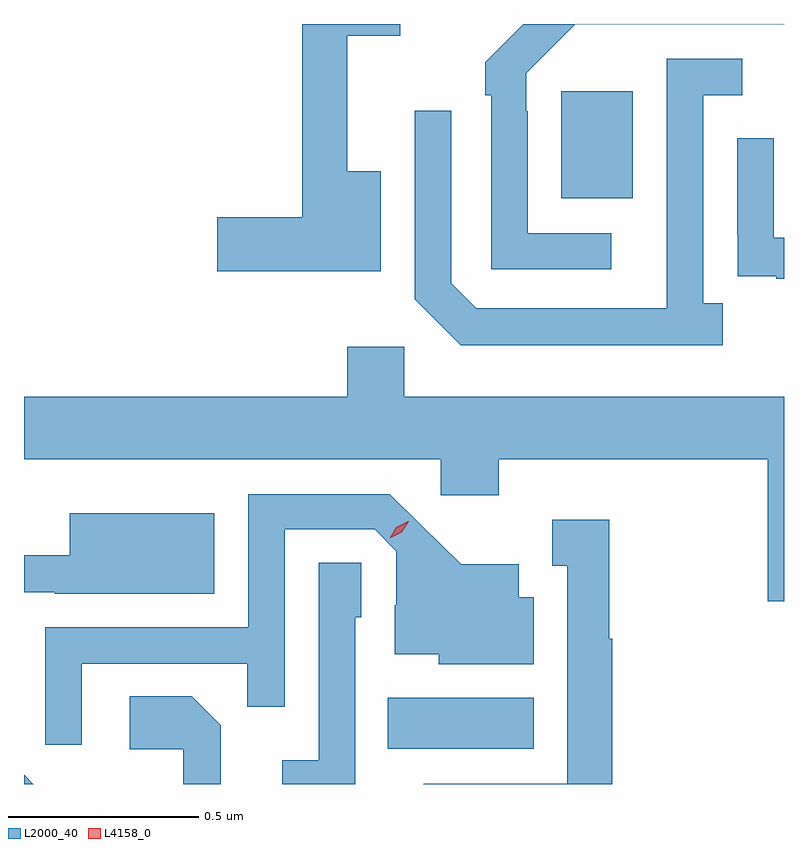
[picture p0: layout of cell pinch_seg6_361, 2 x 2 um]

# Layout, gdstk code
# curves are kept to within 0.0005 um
import gdstk
lib = gdstk.Library(unit=1e-6, precision=1e-09)
def R(c, l, rs):  # rectangles x0, y0, x1, y1
    for r in rs: c.add(gdstk.rectangle(r[:2], r[2:], *l))
def P(c, l, *ps):  # polygons
    for p in ps: c.add(gdstk.Polygon(p, *l))
L2000_40 = (2000, 40)
L4158_0 = (4158, 0)

pinch_seg6_361 = lib.new_cell('pinch_seg6_361')
R(pinch_seg6_361, L2000_40, [(655.516,950.57,655.9,950.704), (655.973,952.019,656.161,952.3)])
P(pinch_seg6_361, L2000_40, [(655.498,952.09),(655.409,952.09),(655.409,952.446),(655.549,952.446),(655.549,952.477),(655.291,952.477),(655.291,951.968),(655.068,951.968),(655.068,951.826),(655.498,951.826)],
  [(656.104,951.927),(655.884,951.927),(655.884,952.247),(655.881,952.247),(655.881,952.347),(656.01,952.476),(656.559,952.476),(656.559,952.477),(655.873,952.477),(655.773,952.377),(655.773,952.289),(655.788,952.289),(655.788,951.831),(656.104,951.831)],
  [(656.398,951.742),(656.346,951.742),(656.346,952.29),(656.449,952.29),(656.449,952.386),(656.25,952.386),(656.25,951.729),(655.749,951.729),(655.683,951.795),(655.683,952.249),(655.587,952.249),(655.587,951.753),(655.708,951.632),(656.398,951.632)],
  [(656.559,951.915),(656.532,951.915),(656.532,952.177),(656.436,952.177),(656.436,951.922),(656.437,951.922),(656.437,951.813),(656.539,951.813),(656.539,951.807),(656.559,951.807)],
  [(656.559,951.496),(655.56,951.496),(655.56,951.628),(655.409,951.628),(655.409,951.496),(654.559,951.496),(654.559,951.332),(655.656,951.332),(655.656,951.237),(655.808,951.237),(655.808,951.332),(656.516,951.332),(656.516,950.958),(656.559,950.958)],
  [(654.711,950.793),(655.147,950.793),(655.147,950.68),(655.245,950.68),(655.245,951.147),(655.482,951.147),(655.539,951.09),(655.539,950.948),(655.535,950.948),(655.535,950.819),(655.65,950.819),(655.65,950.792),(655.9,950.792),(655.9,950.968),(655.861,950.968),(655.861,951.055),(655.709,951.055),(655.522,951.24),(655.149,951.24),(655.149,950.889),(654.615,950.889),(654.615,950.58),(654.711,950.58)],
  [(655.06,951.19),(654.68,951.19),(654.68,951.079),(654.559,951.079),(654.559,950.982),(654.64,950.982),(654.64,950.978),(655.06,950.978)],
  [(656.107,950.859),(656.099,950.859),(656.099,951.172),(655.949,951.172),(655.949,951.051),(655.988,951.051),(655.988,950.478),(655.611,950.478),(655.61,950.477),(656.107,950.477)],
  [(655.431,950.916),(655.446,950.916),(655.446,951.059),(655.335,951.059),(655.335,950.539),(655.239,950.539),(655.239,950.477),(655.431,950.477)],
  [(655.077,950.632),(655.001,950.708),(654.837,950.708),(654.837,950.568),(654.978,950.568),(654.978,950.477),(655.077,950.477)],
  [(654.559,950.501),(654.559,950.477),(654.583,950.477)])
P(pinch_seg6_361, L4158_0, [(655.522,951.124),(655.522,951.124),(655.539,951.153),(655.57,951.168),(655.571,951.168),(655.571,951.168),(655.553,951.139),(655.522,951.124)])

lib.write_gds('pinch_seg6_361.gds')
